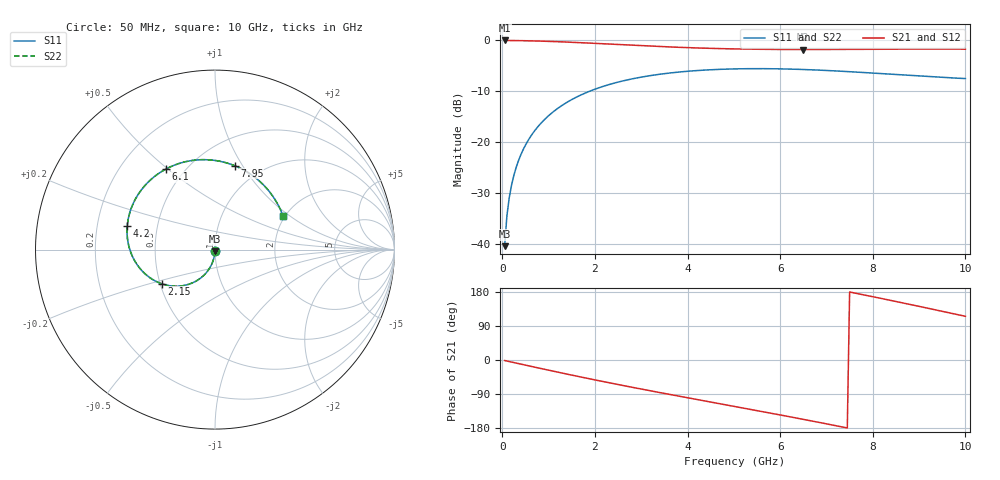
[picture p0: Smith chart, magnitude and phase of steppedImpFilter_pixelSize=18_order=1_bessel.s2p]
! freq	dB(S11)	phase(S11)	dB(S12)	phase(S12)
!  dB(S21)	phase(S21)	dB(S22)	phase(S22)
!S-par simulation data
#  GHz  S  DB  R 50
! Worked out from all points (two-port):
!   200 points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, 50 MHz to 10 GHz, reference 50 ohm
!   highest |S21| = 0.00 dB at 50 MHz (marker M1); lowest = -1.8 dB at 6.5 GHz (marker M2)
!   |S21| within 3 dB of the highest: start of sweep to end of sweep
!   lowest |S11| = -40.3 dB at 50 MHz (marker M3), VSWR 1.02, Z = 50 - j0.962 ohm
!   |S11| at or under -10 dB: start of sweep to 1.873 GHz
!   |S22| runs from -40.3 to -5.5 dB; largest |S21 - S12| = 0
!   S11 on the Smith chart (normalised r, x): 50 MHz: 1.00, -0.02; 2.15 GHz: 0.51, -0.22; 4.2 GHz: 0.33, +0.12; 6.1 GHz: 0.40, +0.49; 7.95 GHz: 0.76, +0.92; 10 GHz: 1.94, +0.90
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0.05  -40.33 -91.5  -0.00 -1.4  -0.00 -1.4  -40.33 -91.5
0.1  -34.33 -93.1  -0.00 -2.7  -0.00 -2.7  -34.33 -93.1
0.15  -30.83 -94.6  -0.01 -4.1  -0.01 -4.1  -30.83 -94.6
0.2  -28.35 -96.0  -0.01 -5.5  -0.01 -5.5  -28.35 -96.0
0.35  -23.56 -100.2  -0.03 -9.5  -0.03 -9.5  -23.56 -100.2
0.5  -20.52 -104.2  -0.06 -13.5  -0.06 -13.5  -20.52 -104.2
0.7  -17.69 -109.6  -0.10 -18.9  -0.10 -18.9  -17.69 -109.6
1  -14.75 -117.6  -0.18 -26.9  -0.18 -26.9  -14.75 -117.6
1.75  -10.47 -137.0  -0.46 -46.2  -0.46 -46.2  -10.47 -137.0
2.15  -9.08 -147.0  -0.64 -56.2  -0.64 -56.2  -9.08 -147.0
2.75  -7.63 -161.6  -0.92 -70.7  -0.92 -70.7  -7.63 -161.6
3.4  -6.63 -177.0  -1.19 -85.9  -1.19 -85.9  -6.63 -177.0
4.2  -5.91 164.6  -1.47 -104.2  -1.47 -104.2  -5.91 164.6
5.05  -5.57 145.3  -1.67 -123.3  -1.67 -123.3  -5.57 145.3
6.1  -5.59 121.1  -1.77 -147.3  -1.77 -147.3  -5.59 121.1
6.5  -5.69 111.7  -1.78 -156.6  -1.78 -156.6  -5.69 111.7
6.7  -5.76 107.0  -1.78 -161.3  -1.78 -161.3  -5.76 107.0
7.35  -6.05 91.5  -1.76 -176.9  -1.76 -176.9  -6.05 91.5
7.95  -6.37 76.9  -1.73 168.3  -1.73 168.3  -6.37 76.9
8.35  -6.60 67.1  -1.71 158.2  -1.71 158.2  -6.60 67.1
9.15  -7.06 47.4  -1.70 137.7  -1.70 137.7  -7.06 47.3
10  -7.47 26.6  -1.72 115.3  -1.72 115.3  -7.47 26.6
